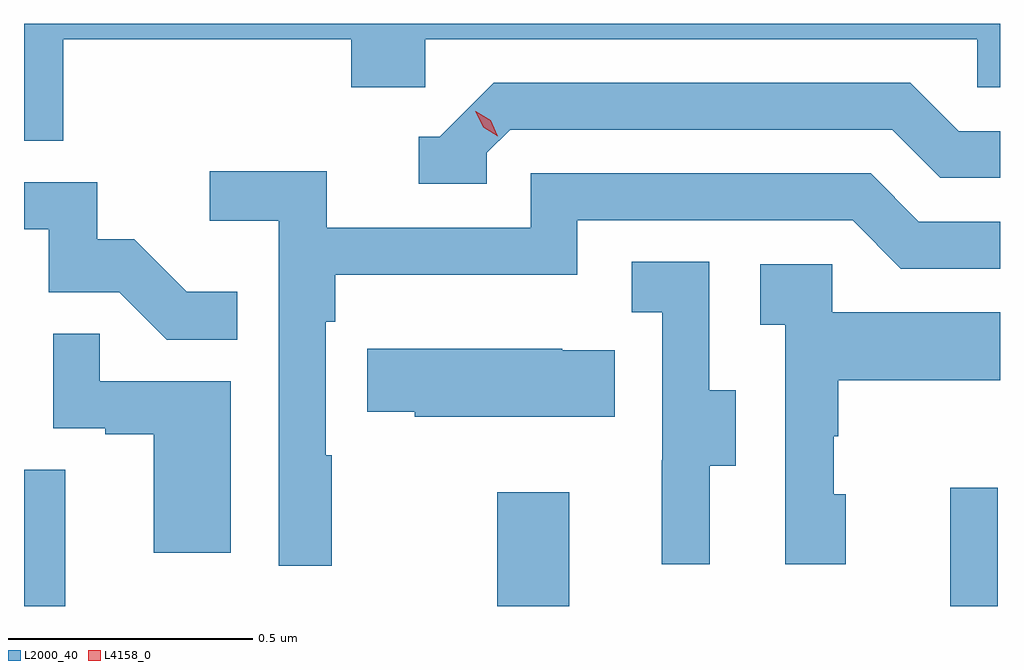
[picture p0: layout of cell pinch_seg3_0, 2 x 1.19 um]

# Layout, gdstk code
import gdstk
lib = gdstk.Library(unit=1e-6, precision=1e-09)
def R(c, l, rs):  # rectangles x0, y0, x1, y1
    for r in rs: c.add(gdstk.rectangle(r[:2], r[2:], *l))
def P(c, l, *ps):  # polygons
    for p in ps: c.add(gdstk.Polygon(p, *l))
L2000_40 = (2000, 40)
L4158_0 = (4158, 0)

pinch_seg3_0 = lib.new_cell('pinch_seg3_0')
R(pinch_seg3_0, L2000_40, [(1142.1,747.706,1142.185,747.986), (1143.07,747.706,1143.217,747.94), (1143.998,747.706,1144.095,747.949)])
P(pinch_seg3_0, L2000_40, [(1142.18,748.868),(1142.771,748.868),(1142.771,748.77),(1142.922,748.77),(1142.922,748.868),(1144.053,748.868),(1144.053,748.77),(1144.1,748.77),(1144.1,748.9),(1142.1,748.9),(1142.1,748.66),(1142.18,748.66)],
  [(1143.048,748.635),(1143.096,748.683),(1143.879,748.683),(1143.978,748.584),(1144.1,748.584),(1144.1,748.68),(1144.015,748.68),(1143.916,748.779),(1143.063,748.779),(1142.952,748.668),(1142.909,748.668),(1142.909,748.572),(1143.048,748.572)],
  [(1142.731,748.016),(1142.718,748.016),(1142.718,748.289),(1142.738,748.289),(1142.738,748.385),(1143.234,748.385),(1143.234,748.497),(1143.798,748.497),(1143.897,748.398),(1144.1,748.398),(1144.1,748.494),(1143.934,748.494),(1143.835,748.593),(1143.138,748.593),(1143.138,748.482),(1142.72,748.482),(1142.72,748.598),(1142.481,748.598),(1142.481,748.496),(1142.622,748.496),(1142.622,747.789),(1142.731,747.789)],
  [(1142.537,748.351),(1142.433,748.351),(1142.326,748.458),(1142.25,748.458),(1142.25,748.575),(1142.1,748.575),(1142.1,748.479),(1142.151,748.479),(1142.151,748.35),(1142.295,748.35),(1142.393,748.252),(1142.537,748.252)],
  [(1143.505,747.994),(1143.559,747.994),(1143.559,748.149),(1143.504,748.149),(1143.504,748.412),(1143.345,748.412),(1143.345,748.309),(1143.408,748.309),(1143.408,748.005),(1143.407,748.005),(1143.407,747.792),(1143.505,747.792)],
  [(1143.784,747.936),(1143.759,747.936),(1143.759,748.055),(1143.769,748.055),(1143.769,748.169),(1144.1,748.169),(1144.1,748.309),(1143.756,748.309),(1143.756,748.407),(1143.609,748.407),(1143.609,748.283),(1143.66,748.283),(1143.66,747.792),(1143.784,747.792)],
  [(1142.524,748.167),(1142.255,748.167),(1142.255,748.265),(1142.16,748.265),(1142.16,748.071),(1142.267,748.071),(1142.267,748.059),(1142.366,748.059),(1142.366,747.816),(1142.524,747.816)],
  [(1143.311,748.231),(1143.203,748.231),(1143.203,748.234),(1142.803,748.234),(1142.803,748.105),(1142.901,748.105),(1142.901,748.094),(1143.311,748.094)])
P(pinch_seg3_0, L4158_0, [(1143.071,748.669),(1143.041,748.688),(1143.025,748.721),(1143.025,748.721),(1143.026,748.721),(1143.056,748.702),(1143.071,748.669),(1143.071,748.669)])

lib.write_gds('pinch_seg3_0.gds')
